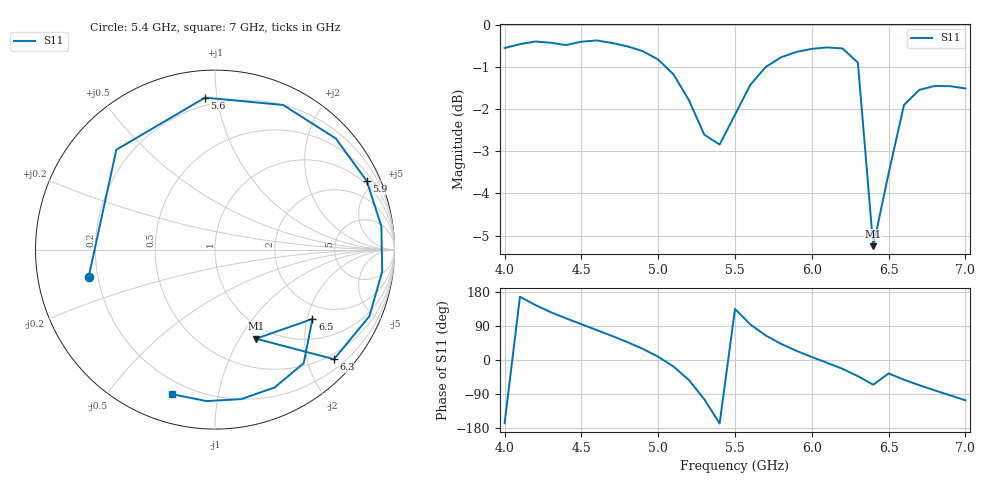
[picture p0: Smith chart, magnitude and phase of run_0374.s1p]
! Touchstone file exported from HFSS 2024.2.0
!  File:  C:/Users/wsak9/Desktop/Sim Fast/Widenad Patch/WP_AI_V1_sweep.aedt
!  Generated:  06:57:17 AM Oct 14, 2026
!  Design:  A1_model
!  Project:  WP_AI_V1_sweep
!  Setup:  Setup1
!  Solution:  Sweep
! Variables:
!  Air_gap = 3.64mm
!  Curve_Amp1 = 3.74
!  Curve_len1 = 1
!  Curve_pos = 9.53mm
!  Extra = 4.06mm
!  H_sub = 0.79mm
!  L_Patch = 15.06mm
!  L_Patch1 = 15.89mm
!  Sx = 4.85mm
!  Sy = 0.22mm
!  WS = 0.67mm
!  W_Patch = 21.61mm
!  W_Patch1 = 11.83mm
!Data is not renormalized
# GHz S MA
! Terminal data exported
! Port[1] = 1
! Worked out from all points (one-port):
!   31 points, 4 GHz to 7 GHz, reference per port
!   lowest |S11| = -5.2 dB at 6.4 GHz (marker M1), VSWR 3.41
!   |S11| at or under -10 dB: nowhere
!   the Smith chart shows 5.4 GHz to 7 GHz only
!   S11 on the Smith chart (normalised r, x): 5.4 GHz: 0.16, -0.11; 5.6 GHz: 0.15, +0.93; 5.9 GHz: 0.82, +4.52; 6.3 GHz: 0.39, -2.51; 6.5 GHz: 1.55, -2.16; 7 GHz: 0.13, -0.74
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4  0.938 -166.9
4.1  0.9479 167.1
4.2  0.9549 145.1
4.3  0.9517 126.2
4.4  0.9456 109.9
4.6  0.9576 79.0
4.8  0.9422 47.1
4.9  0.9299 29.3
5  0.909 8.6
5.1  0.8728 -17.4
5.2  0.8137 -52.8
5.3  0.7406 -103.5
5.4  0.7209 -167.7
5.5  0.7822 134.7
5.6  0.8487 93.7
5.7  0.8907 64.8
5.8  0.9146 42.6
5.9  0.9282 24.2
6  0.9359 7.9
6.1  0.9395 -7.5
6.2  0.9369 -23.3
6.3  0.9014 -42.7
6.4  0.5465 -65.2
6.5  0.6664 -35.4
6.6  0.803 -52.0
6.7  0.8368 -66.6
6.8  0.8458 -80.1
7  0.8402 -106.4
